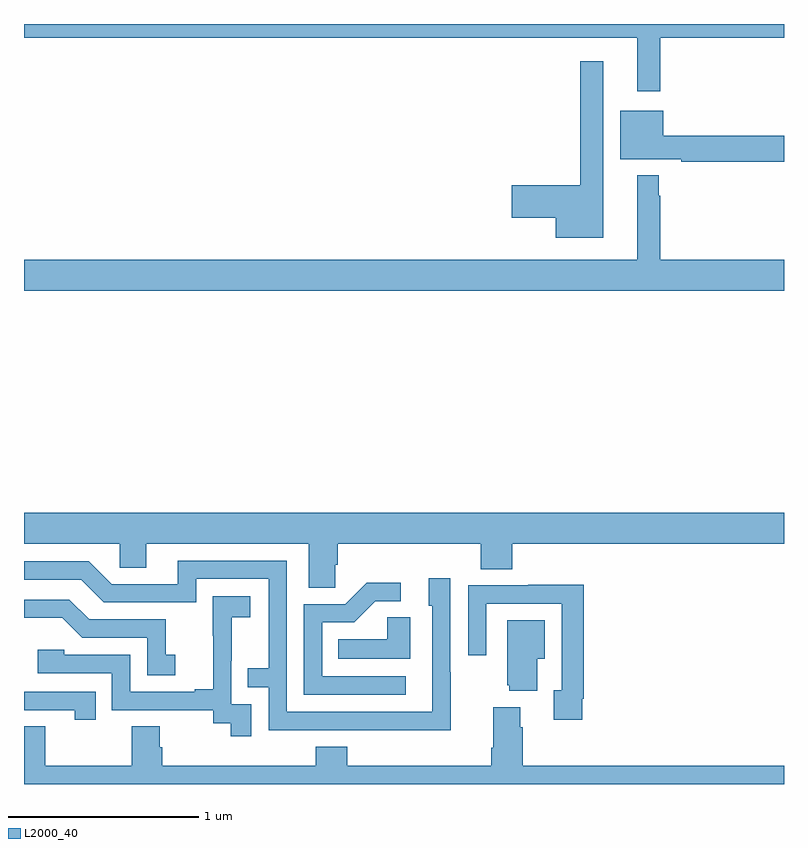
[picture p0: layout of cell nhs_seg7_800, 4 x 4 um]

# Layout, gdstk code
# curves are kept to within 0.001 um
import gdstk
lib = gdstk.Library(unit=1e-6, precision=1e-09)
def P(c, l, *ps):  # polygons
    for p in ps: c.add(gdstk.Polygon(p, *l))
L2000_40 = (2000, 40)

nhs_seg7_800 = lib.new_cell('nhs_seg7_800')
P(nhs_seg7_800, L2000_40, [(174.349,1021.928),(175,1021.928),(175,1022),(171,1022),(171,1021.928),(174.227,1021.928),(174.227,1021.647),(174.349,1021.647)],
  [(174.049,1021.804),(173.928,1021.804),(173.928,1021.151),(173.568,1021.151),(173.568,1020.98),(173.798,1020.98),(173.798,1020.875),(174.049,1020.875)],
  [(175,1021.412),(174.364,1021.412),(174.364,1021.543),(174.137,1021.543),(174.137,1021.289),(174.46,1021.289),(174.46,1021.276),(175,1021.276)],
  [(175,1020.76),(174.349,1020.76),(174.349,1021.097),(174.342,1021.097),(174.342,1021.204),(174.227,1021.204),(174.227,1020.76),(171,1020.76),(171,1020.596),(175,1020.596)],
  [(172.638,1019.155),(172.652,1019.155),(172.652,1019.264),(173.405,1019.264),(173.405,1019.131),(173.57,1019.131),(173.57,1019.264),(175,1019.264),(175,1019.428),(171,1019.428),(171,1019.264),(171.504,1019.264),(171.504,1019.137),(171.643,1019.137),(171.643,1019.264),(172.499,1019.264),(172.499,1019.032),(172.638,1019.032)],
  [(173.247,1018.589),(173.244,1018.589),(173.244,1019.083),(173.129,1019.083),(173.129,1018.938),(173.148,1018.938),(173.148,1018.38),(172.383,1018.38),(172.383,1019.175),(171.809,1019.175),(171.809,1019.052),(171.462,1019.052),(171.342,1019.172),(171,1019.172),(171,1019.076),(171.3,1019.076),(171.42,1018.956),(171.906,1018.956),(171.906,1019.079),(172.287,1019.079),(172.287,1018.61),(172.177,1018.61),(172.177,1018.509),(172.287,1018.509),(172.287,1018.284),(173.247,1018.283)],
  [(173.008,1018.566),(172.569,1018.566),(172.569,1018.851),(172.738,1018.851),(172.849,1018.962),(172.984,1018.962),(172.984,1019.06),(172.805,1019.06),(172.692,1018.947),(172.473,1018.947),(172.473,1018.47),(173.008,1018.47)],
  [(173.938,1018.45),(173.945,1018.45),(173.945,1019.048),(173.653,1019.048),(173.653,1019.046),(173.337,1019.046),(173.337,1018.677),(173.433,1018.677),(173.433,1018.95),(173.829,1018.95),(173.829,1018.494),(173.789,1018.494),(173.789,1018.338),(173.938,1018.338)],
  [(172.197,1018.419),(172.092,1018.419),(172.092,1018.649),(172.094,1018.649),(172.094,1018.877),(172.192,1018.877),(172.192,1018.987),(171.994,1018.987),(171.994,1018.781),(171.995,1018.781),(171.995,1018.498),(171.899,1018.498),(171.899,1018.485),(171.558,1018.485),(171.558,1018.68),(171.213,1018.68),(171.213,1018.707),(171.073,1018.707),(171.073,1018.584),(171.462,1018.584),(171.462,1018.389),(171.996,1018.389),(171.996,1018.321),(172.089,1018.321),(172.089,1018.251),(172.197,1018.251)],
  [(171.796,1018.681),(171.747,1018.681),(171.747,1018.866),(171.343,1018.866),(171.238,1018.971),(171,1018.971),(171,1018.874),(171.202,1018.874),(171.306,1018.77),(171.648,1018.77),(171.648,1018.572),(171.796,1018.572)],
  [(173.032,1018.877),(172.911,1018.877),(172.911,1018.762),(172.654,1018.762),(172.654,1018.658),(173.032,1018.658)],
  [(173.701,1018.658),(173.74,1018.658),(173.74,1018.861),(173.543,1018.861),(173.543,1018.521),(173.555,1018.521),(173.555,1018.49),(173.701,1018.49)],
  [(171.377,1018.485),(171,1018.485),(171,1018.389),(171.266,1018.389),(171.266,1018.338),(171.377,1018.338)],
  [(175,1018.096),(173.624,1018.096),(173.624,1018.298),(173.611,1018.298),(173.611,1018.405),(173.471,1018.405),(173.471,1018.192),(173.459,1018.192),(173.459,1018.096),(172.7,1018.096),(172.7,1018.195),(172.535,1018.195),(172.535,1018.096),(171.728,1018.096),(171.728,1018.194),(171.715,1018.194),(171.715,1018.304),(171.568,1018.304),(171.568,1018.096),(171.111,1018.096),(171.111,1018.304),(171,1018.304),(171,1018),(175,1018)])

lib.write_gds('nhs_seg7_800.gds')
